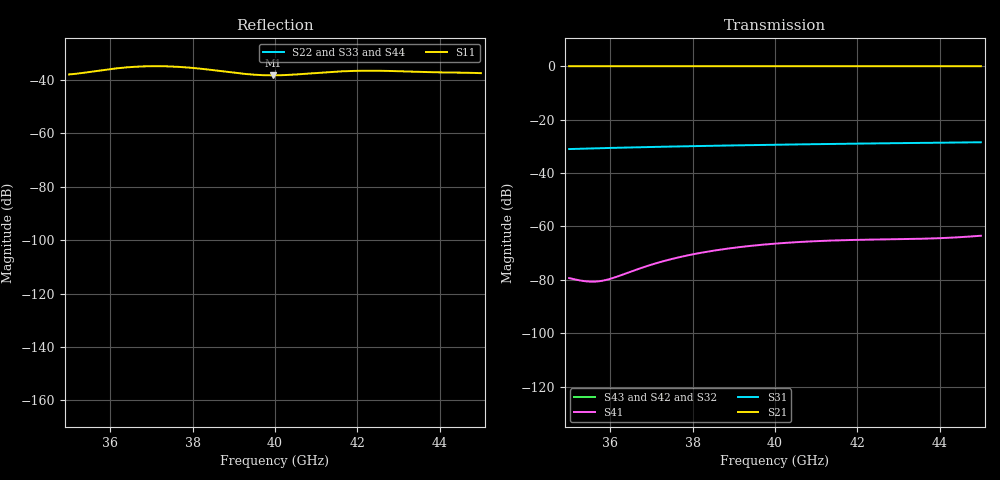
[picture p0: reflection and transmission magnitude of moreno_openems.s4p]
! Moreno cross-guide coupler, openEMS FDTD
! only column 1 (port 1 excited) and, by reciprocity, row 1 are simulated; other entries are zero
# GHz S MA R 50
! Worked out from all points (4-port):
!   201 points, 35 GHz to 45 GHz, reference 50 ohm
!   strongest paths, dB at 35 GHz, 37.5 GHz, 40 GHz, 42.5 GHz, 45 GHz:
!     S21: 0.0, 0.0, 0.0, 0.0, 0.0
!     S31: -31.0, -30.1, -29.4, -28.9, -28.5
!     S41: -79.4, -72.2, -66.5, -64.9, -63.5
!     S43: -, -, -, -, -
!     S42: -, -, -, -, -
!     S32: -, -, -, -, -
!   lowest |S11| = -38.3 dB at 39.95 GHz (marker M1), VSWR 1.02, Z = 51.2 + j0.293 ohm
!   |S11| at or under -10 dB: start of sweep to end of sweep
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35  0.01271 -145.0  0.9988 -160.1  0.02805 109.9  0.0001076 -77.8
    0.9988 -160.1  0 0.0  0 0.0  0 0.0
    0.02805 109.9  0 0.0  0 0.0  0 0.0
    0.0001076 -77.8  0 0.0  0 0.0  0 0.0
35.9  0.01565 -109.1  0.9997 -169.4  0.02931 100.6  9.94e-05 -153.4
      0.9997 -169.4  0 0.0  0 0.0  0 0.0
      0.02931 100.6  0 0.0  0 0.0  0 0.0
      9.94e-05 -153.4  0 0.0  0 0.0  0 0.0
37.15  0.01814 -78.1  0.9998 178.0  0.03087 88.0  0.0002082 137.4
       0.9998 178.0  0 0.0  0 0.0  0 0.0
       0.03087 88.0  0 0.0  0 0.0  0 0.0
       0.0002082 137.4  0 0.0  0 0.0  0 0.0
38.4  0.01561 -47.2  0.9994 165.8  0.03224 75.8  0.0003403 102.5
      0.9994 165.8  0 0.0  0 0.0  0 0.0
      0.03224 75.8  0 0.0  0 0.0  0 0.0
      0.0003403 102.5  0 0.0  0 0.0  0 0.0
39.95  0.01222 13.5  0.9993 151.1  0.03375 61.1  0.0004719 71.2
       0.9993 151.1  0 0.0  0 0.0  0 0.0
       0.03375 61.1  0 0.0  0 0.0  0 0.0
       0.0004719 71.2  0 0.0  0 0.0  0 0.0
42.15  0.0149 89.2  0.9996 130.9  0.0356 40.9  0.0005626 38.0
       0.9996 130.9  0 0.0  0 0.0  0 0.0
       0.0356 40.9  0 0.0  0 0.0  0 0.0
       0.0005626 38.0  0 0.0  0 0.0  0 0.0
45  0.01344 176.8  0.9988 105.5  0.0376 15.5  0.0006683 11.8
    0.9988 105.5  0 0.0  0 0.0  0 0.0
    0.0376 15.5  0 0.0  0 0.0  0 0.0
    0.0006683 11.8  0 0.0  0 0.0  0 0.0
